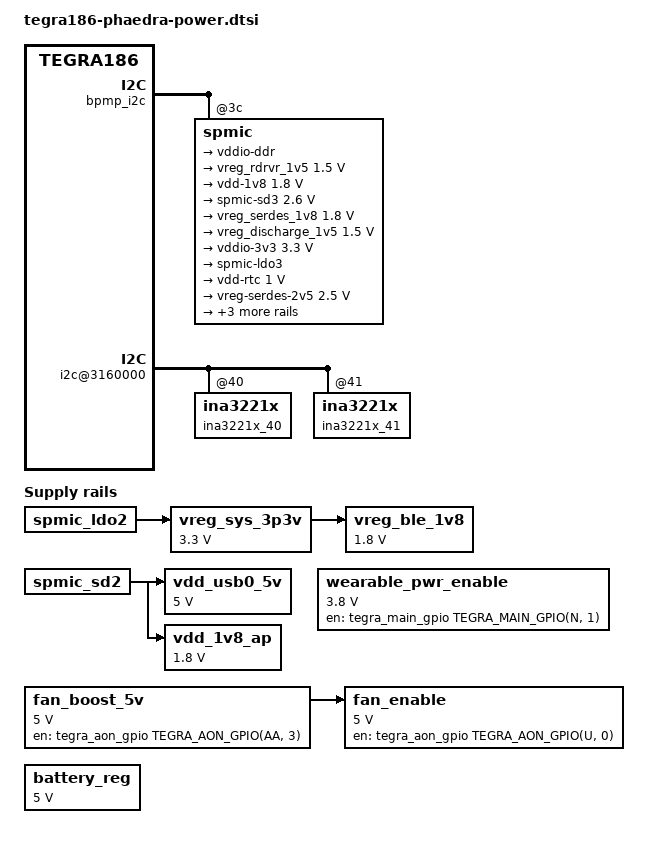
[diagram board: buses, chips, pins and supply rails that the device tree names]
/*
 * tegra186-phaedra-power.dtsi
 *
 * Main device tree for the phaedra product.
 *
 * Copyright (c) 2017, Magic Leap, Inc.  All rights reserved.
 *
 * This program is free software; you can redistribute it and/or modify
 * it under the terms of the GNU General Public License as published by
 * the Free Software Foundation; version 2 of the License.
 *
 * This program is distributed in the hope that it will be useful, but WITHOUT
 * ANY WARRANTY; without even the implied warranty of MERCHANTABILITY or
 * FITNESS FOR A PARTICULAR PURPOSE.  See the GNU General Public License for
 * more details.
 */
/ {
	bpmp_i2c {
		spmic@3c {
			/* Low battery falling threshold voltage */
			/* 0 = 2.7V / 1 = 2.8V / ...	*/
			/* 4 = 3.1V / 7 = 3.4V		*/
			maxim,low-battery-threshold = <4>;

			/* FPS CID4 = 0x58 */
			regulators {
				sd0 {
					regulator-name = "vddio-ddr";
					regulator-boot-on;
					regulator-always-on;
					maxim,active-fps-source = <MAX77620_FPS_SRC_DEF>;
					maxim,active-fps-power-up-slot = <6>;
					maxim,active-fps-power-down-slot = <2>;
				};
				sd1 {
					regulator-name = "vreg_rdrvr_1v5";
					regulator-min-microvolt = <1500000>;
					regulator-max-microvolt = <1500000>;
					regulator-always-on;
					regulator-boot-on;
					maxim,active-fps-source = <MAX77620_FPS_SRC_DEF>;
					maxim,active-fps-power-up-slot = <4>;
					maxim,active-fps-power-down-slot = <1>;
				};
				sd2 {
					regulator-name = "vdd-1v8";
					regulator-min-microvolt = <1800000>;
					regulator-max-microvolt = <1800000>;
					regulator-always-on;
					regulator-boot-on;
					maxim,active-fps-source = <MAX77620_FPS_SRC_DEF>;
					maxim,active-fps-power-up-slot = <0>;
					maxim,active-fps-power-down-slot = <7>;
				};
				sd3 {
					regulator-name = "spmic-sd3";
					regulator-min-microvolt = <2600000>;
					regulator-max-microvolt = <2600000>;
					/delete-property/ regulator-always-on;
					/delete-property/ regulator-boot-on;
					maxim,active-fps-source = <MAX77620_FPS_SRC_NONE>;
					maxim,active-fps-power-up-slot = <7>;
					maxim,active-fps-power-down-slot = <1>;
				};
				ldo0 {
					regulator-name = "vreg_serdes_1v8";
					regulator-min-microvolt = <1800000>;
					regulator-max-microvolt = <1800000>;
					/delete-property/ regulator-always-on;
					/delete-property/ regulator-boot-on;
					maxim,active-fps-source = <MAX77620_FPS_SRC_NONE>;
					maxim,active-fps-power-up-slot = <4>;
					maxim,active-fps-power-down-slot = <3>;
				};
				ldo1 {
					regulator-name = "vreg_discharge_1v5";
					regulator-min-microvolt = <1500000>;
					regulator-max-microvolt = <1500000>;
					regulator-always-on;
					regulator-boot-on;
					maxim,active-fps-source = <MAX77620_FPS_SRC_DEF>;
					maxim,active-fps-power-up-slot = <6>;
					maxim,active-fps-power-down-slot = <2>;
				};
				ldo2 {
					regulator-name = "vddio-3v3";
					regulator-min-microvolt = <3300000>;
					regulator-max-microvolt = <3300000>;
					regulator-always-on;
					regulator-boot-on;
					maxim,active-fps-source = <MAX77620_FPS_SRC_DEF>;
					maxim,active-fps-power-up-slot = <7>;
					maxim,active-fps-power-down-slot = <1>;
				};
				ldo3 {
					regulator-name = "spmic-ldo3";
					/delete-property/ regulator-always-on;
					/delete-property/ regulator-boot-on;
					maxim,active-fps-source = <MAX77620_FPS_SRC_NONE>;
				};
				ldo4 {
					regulator-name = "vdd-rtc";
					regulator-min-microvolt = <1000000>;
					regulator-max-microvolt = <1000000>;
					regulator-always-on;
					regulator-boot-on;
					maxim,active-fps-source = <MAX77620_FPS_SRC_DEF>;
					maxim,active-fps-power-up-slot = <1>;
					maxim,active-fps-power-down-slot = <7>;
				};
				ldo5 {
					regulator-name = "vreg-serdes-2v5";
					regulator-min-microvolt = <2500000>;
					regulator-max-microvolt = <2500000>;
					regulator-boot-on;
					maxim,active-fps-source = <MAX77620_FPS_SRC_NONE>;
				};
				ldo6 {
					regulator-name = "soc_vid_oe";
					regulator-min-microvolt = <1800000>;
					regulator-max-microvolt = <1800000>;
					maxim,active-fps-source = <MAX77620_FPS_SRC_NONE>;
				};
				ldo7 {
					regulator-name = "vreg_hdmi_1v05";
					regulator-min-microvolt = <1050000>;
					regulator-max-microvolt = <1050000>;
					regulator-always-on;
					regulator-boot-on;
					maxim,active-fps-source = <MAX77620_FPS_SRC_DEF>;
					maxim,active-fps-power-up-slot = <6>;
					maxim,active-fps-power-down-slot = <1>;
				};
				ldo8 {
					regulator-name = "vreg_pex_1v05";
					regulator-min-microvolt = <1050000>;
					regulator-max-microvolt = <1050000>;
					regulator-always-on;
					regulator-boot-on;
					maxim,active-fps-source = <MAX77620_FPS_SRC_NONE>;
				};
			};
		};
	};

	/* delete all NVIDIA defined fixed regulators */
	/delete-node/ fixed-regulators;
	fixed-regulators {
		compatible = "simple-bus";
		device_type = "fixed-regulators";
		#address-cells = <1>;
		#size-cells = <0>;

		/* 70pin_CONN_PWR_ENABLE gpio pin */
		wearable_pwr_enable: wearable_pwr_enable {
			compatible = "regulator-fixed";
			status = "okay";
			regulator-name = "wearable_pwr_enable";
			/* varies depending on battery voltage */
			regulator-min-microvolt = <3800000>;
			regulator-max-microvolt = <3800000>;
			enable-active-high;
			regulator-boot-on;
			gpio = <&tegra_main_gpio TEGRA_MAIN_GPIO(N, 1) 0>;
		};
		/* 5V_BST_EN gpio pin */
		fan_boost_5v: fan_boost_5v {
			compatible = "regulator-fixed";
			status = "okay";
			regulator-name = "fan_boost_5v";
			regulator-min-microvolt = <5000000>;
			regulator-max-microvolt = <5000000>;
			enable-active-high;
			gpio = <&tegra_aon_gpio TEGRA_AON_GPIO(AA, 3) 0>;
		};
		/* PS_VDD_FAN_ENABLE gpio pin */
		fan_enable: fan_enable {
			compatible = "regulator-fixed";
			status = "okay";
			regulator-name = "fan_enable";
			regulator-min-microvolt = <5000000>;
			regulator-max-microvolt = <5000000>;
			enable-active-high;
			gpio = <&tegra_aon_gpio TEGRA_AON_GPIO(U, 0) 0>;
			vin-supply = <&fan_boost_5v>;
		};
		/* VREG_SYS_3V3 - TPS630252YFFR */
		vreg_sys_3p3v: vreg_sys_3p3v {
			compatible = "regulator-fixed";
			status = "okay";
			regulator-name = "vreg_sys_3p3v";
			regulator-min-microvolt = <3300000>;
			regulator-max-microvolt = <3300000>;
			/* VREG_AOHV_3V3 - always on */
			vin-supply = <&spmic_ldo2>;
			regulator-always-on;
		};
		/* VSYS */
		battery_reg: battery_reg {
			compatible = "regulator-fixed";
			regulator-name = "vdd-ac-bat";
			regulator-min-microvolt = <5000000>;
			regulator-max-microvolt = <5000000>;
			regulator-always-on;
		};
		/* VREG_OTG_5V0 - TPS61253 */
		vdd_usb0_5v: vdd_usb0_5v {
			compatible = "regulator-fixed";
			regulator-name = "vdd-usb0-5v";
			regulator-min-microvolt = <5000000>;
			regulator-max-microvolt = <5000000>;
			enable-active-high;
			/* VREG_IO_1V8 */
			vin-supply = <&spmic_sd2>;
			/* Always on */
			/delete-property/ gpio;
			regulator-always-on;
			regulator-boot-on;
		};
		/* vdd_1v8_ap - VREG_AP_1V8 - TPS22925 */
		vdd_1v8_ap: vdd_1v8_ap {
			compatible = "regulator-fixed";
			regulator-name = "vdd-1v8-ap";
			regulator-min-microvolt = <1800000>;
			regulator-max-microvolt = <1800000>;
			regulator-always-on;
			regulator-boot-on;
			vin-supply = <&spmic_sd2>;
		};
		/* VREG_BLE_1V8 - LP5907UVX-1.8/NOPB */
		vreg_ble_1v8: vreg_ble_1v8 {
			compatible = "regulator-fixed";
			status = "okay";
			regulator-name = "vreg_ble_1v8";
			regulator-min-microvolt = <1800000>;
			regulator-max-microvolt = <1800000>;
			/* vreg_sys_3p3v */
			vin-supply = <&vreg_sys_3p3v>;
			regulator-always-on;
			regulator-boot-on;
		};
	};

	pmc-iopower {
		iopower-ao-hv-supply = <&vdd_1v8_ap>;
		vddio-ao-hv-supply = <&vdd_1v8_ap>;

		/delete-property/ iopower-sdmmc1-hv-supply;
		/delete-property/ iopower-sdmmc2-hv-supply;
		/delete-property/ iopower-sdmmc3-hv-supply;
		/delete-property/ iopower-sdmmc4-supply;

		/delete-property/ vddio-sdmmc1-hv-supply;
		/delete-property/ vddio-sdmmc2-hv-supply;
		/delete-property/ vddio-sdmmc3-hv-supply;
		/delete-property/ vddio-sdmmc4-supply;
	};

	i2c@3160000 {
		ina3221x_40: ina3221x@40 {
			channel@0 {
				ti,rail-name = "VDD_SYS_GPU";
				ti,shunt-resistor-mohm = <10>;
			};
			channel@1 {
				ti,rail-name = "VDD_SYS_SOC";
				ti,shunt-resistor-mohm = <10>;
			};
			channel@2 {
				ti,rail-name = "VDD_4V0_WIFI";
				ti,shunt-resistor-mohm = <56>;
			};
		};
		ina3221x_41: ina3221x@41 {
			channel@0 {
				ti,rail-name = "VDD_SYS_WEARABLE";
				ti,shunt-resistor-mohm = <5>;
			};
			channel@1 {
				ti,rail-name = "VDD_SYS_CPU";
				ti,shunt-resistor-mohm = <10>;
			};
			channel@2 {
				ti,rail-name = "VDD_SYS_DDR";
				ti,shunt-resistor-mohm = <10>;
			};
		};
		/delete-node/ ina3221x@42;
		/delete-node/ ina3221x@43;
		/delete-node/ gpio@74;
		/delete-node/ gpio@77;
		/delete-node/ gpio@21;
		/delete-node/ tps65132@3e;
	};

	xudc@3550000 {
		avdd-usb-supply = <&vreg_sys_3p3v>;
		dvdd-pex-supply = <&spmic_ldo8>;
		hvdd-pex-supply = <&vdd_1v8_ap>;
		dvdd-pex-pll-supply = <&spmic_ldo8>;
		hvdd-pex-pll-supply = <&vdd_1v8_ap>;
	};

	xhci@3530000 {
		avddio_usb-supply = <&vreg_sys_3p3v>;
	};

	pinctrl@3520000 {
		vbus-0-supply = <&battery_reg>;
		vbus-1-supply = <&battery_reg>;
		vbus-2-supply = <&battery_reg>;
		vbus-3-supply = <&battery_reg>;
		vddio-hsic-supply = <&battery_reg>;
		avdd_usb-supply = <&vreg_sys_3p3v>;
		vclamp_usb-supply = <&vdd_1v8_ap>;
		avdd_pll_erefeut-supply = <&vdd_1v8_ap>;
	};

	ufshci@2450000 {
		vddio-ufs-supply = <&vreg_sys_3p3v>;
		vddio-ufs-ap-supply = <&vdd_1v8_ap>;
	};

	ether_qos@2490000 {
		/delete-property/ vddio_sys_enet_bias-supply;
		/delete-property/ vddio_enet-supply;
		/delete-property/ phy_vdd_1v8-supply;
		/delete-property/ phy_ovdd_rgmii-supply;
		/delete-property/ phy_pllvdd-supply;
	};

	sdhci@3460000 {
		/delete-property/ vqmmc-supply;
		/delete-property/ vmmc-supply;
	};

	sdhci@3440000 {
		/delete-property/ vqmmc-supply;
		/delete-property/ vmmc-supply;
	};

	sdhci@3420000 {
		/delete-property/ vqmmc-supply;
		/delete-property/ vmmc-supply;
	};

	sdhci@3400000 {
		/delete-property/ vqmmc-supply;
		/delete-property/ vmmc-supply;
	};

	host1x {
		nvdisplay@15200000 {
			/delete-property/ avdd_lcd-supply;
			/delete-property/ dvdd_lcd-supply;
			/delete-property/ avdd_dsi_csi-supply;
			/delete-property/ outp-supply;
			/delete-property/ outn-supply;
			/delete-property/ vdd_lcd_bl-supply;
			/delete-property/ vdd_lcd_bl_en-supply;
			/delete-property/ avdd_hdmi-supply;
			/delete-property/ avdd_hdmi_pll-supply;

			vdd-dp-pwr-supply = <&spmic_ldo7>;
			avdd-dp-pll-supply = <&vdd_1v8_ap>;
			vdd-edp-sec-mode-supply = <&vdd_1v8_ap>;
			vdd-dp-pad-supply = <&vdd_1v8_ap>;
			vdd_hdmi_5v0-supply = <&battery_reg>;
		};
		nvdisplay@15210000 {
			/delete-property/ avdd_hdmi-supply;
			/delete-property/ avdd_hdmi_pll-supply;

			vdd-dp-pwr-supply = <&spmic_ldo7>;
			avdd-dp-pll-supply = <&vdd_1v8_ap>;
			vdd-edp-sec-mode-supply = <&vdd_1v8_ap>;
			vdd-dp-pad-supply = <&vdd_1v8_ap>;
			vdd_hdmi_5v0-supply = <&battery_reg>;
		};
	};

	plugin-manager {
		/delete-node/ fragment-sdwake-p3310-1000-300;
		/delete-node/ fragement-pmon-p3310-1000-300;
		/delete-node/ fragement-pmon-p3310-1000-800;
		/delete-node/ fragment-p3310-c03;
		/delete-node/ fragement-pmon-p3310-1000-800;
		/delete-node/ fragment-devslp@0;
		/delete-node/ fragment-p3310-c00-comm;
		/delete-node/ fragment-p3310-c00-pmic;
		/delete-node/ fragment-p3310-c01;
		/delete-node/ fragment-p3310-c03;
		/delete-node/ fragment-p3310-c00-comm;
		/delete-node/ fragment-e3320-a01@1;
	};
};
